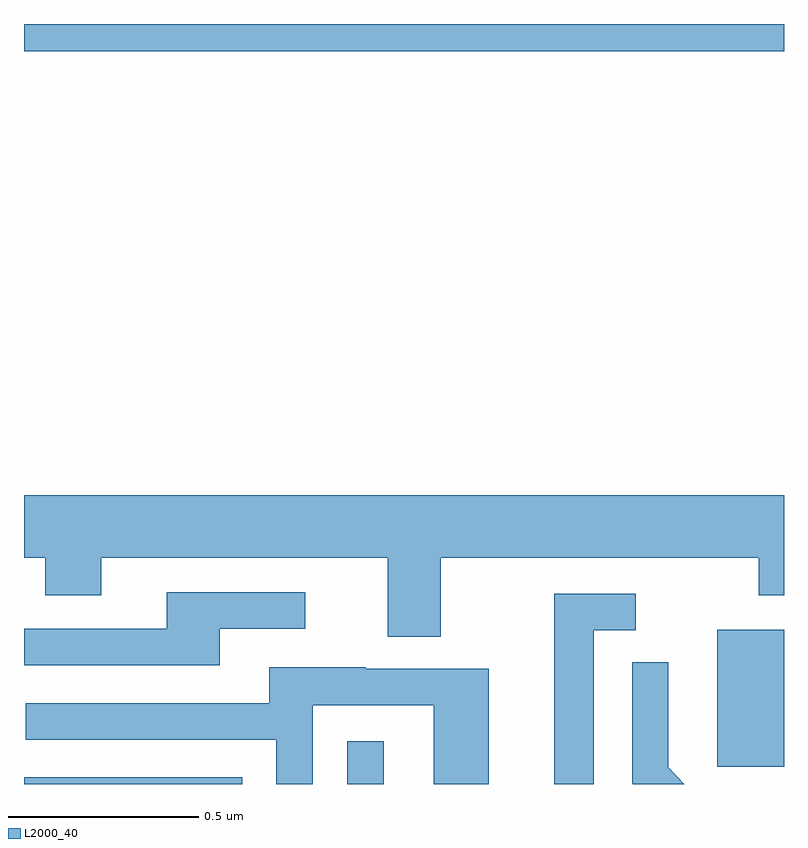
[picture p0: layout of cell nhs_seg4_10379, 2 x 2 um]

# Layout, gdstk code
import gdstk
lib = gdstk.Library(unit=1e-6, precision=1e-09)
def R(c, l, rs):  # rectangles x0, y0, x1, y1
    for r in rs: c.add(gdstk.rectangle(r[:2], r[2:], *l))
def P(c, l, *ps):  # polygons
    for p in ps: c.add(gdstk.Polygon(p, *l))
L2000_40 = (2000, 40)

nhs_seg4_10379 = lib.new_cell('nhs_seg4_10379')
R(nhs_seg4_10379, L2000_40, [(239,786.9,239.574,786.918), (239.85,786.9,239.947,787.012), (240.824,786.945,241,787.306), (239,788.828,241,788.9)])
P(nhs_seg4_10379, L2000_40, [(240.097,787.496),(240.934,787.496),(240.934,787.397),(241,787.397),(241,787.66),(239,787.66),(239,787.496),(239.056,787.496),(239.056,787.397),(239.203,787.397),(239.203,787.496),(239.957,787.496),(239.957,787.288),(240.097,787.288)],
  [(239.515,787.308),(239.74,787.308),(239.74,787.404),(239.375,787.404),(239.375,787.308),(239,787.308),(239,787.212),(239.515,787.212)],
  [(240.499,787.305),(240.61,787.305),(240.61,787.401),(240.395,787.401),(240.395,786.9),(240.499,786.9)],
  [(240.695,786.944),(240.695,787.066),(240.696,787.066),(240.696,787.22),(240.6,787.22),(240.6,786.902),(240.602,786.9),(240.738,786.9)],
  [(239.76,787.107),(240.078,787.107),(240.078,786.9),(240.223,786.9),(240.223,787.203),(239.899,787.203),(239.899,787.207),(239.645,787.207),(239.645,787.113),(239.005,787.113),(239.005,787.017),(239.664,787.017),(239.664,786.9),(239.76,786.9)])

lib.write_gds('nhs_seg4_10379.gds')
